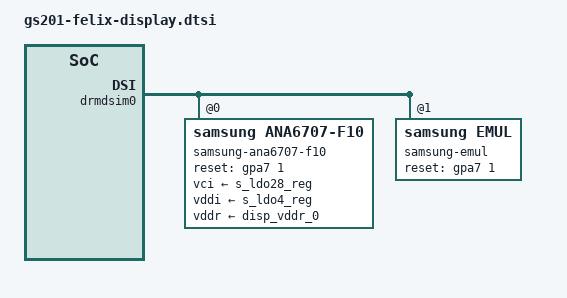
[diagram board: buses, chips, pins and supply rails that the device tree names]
// SPDX-License-Identifier: GPL-2.0-only
/*
 * Display nodes for slider-related boards.
 *
 * Copyright 2022 Google LLC
 *
 */

&drmdsim0 {
	samsung_ana6707_f10: panel@0 {
		compatible = "samsung,ana6707-f10";
		label = "samsung-ana6707-f10";
		channel = <0>;

		/* reset, power */
		reset-gpios = <&gpa7 1 GPIO_ACTIVE_HIGH>;
		vci-supply = <&s_ldo28_reg>;
		vddi-supply = <&s_ldo4_reg>;
		vddr-supply = <&disp_vddr_0>;
		touch = <&spitouch>;
	};
	panel@1 {
		compatible = "samsung,emul";
		label = "samsung-emul";
		channel = <0>;

		/* reset, power */
		reset-gpios = <&gpa7 1 GPIO_ACTIVE_HIGH>;
	};
};
